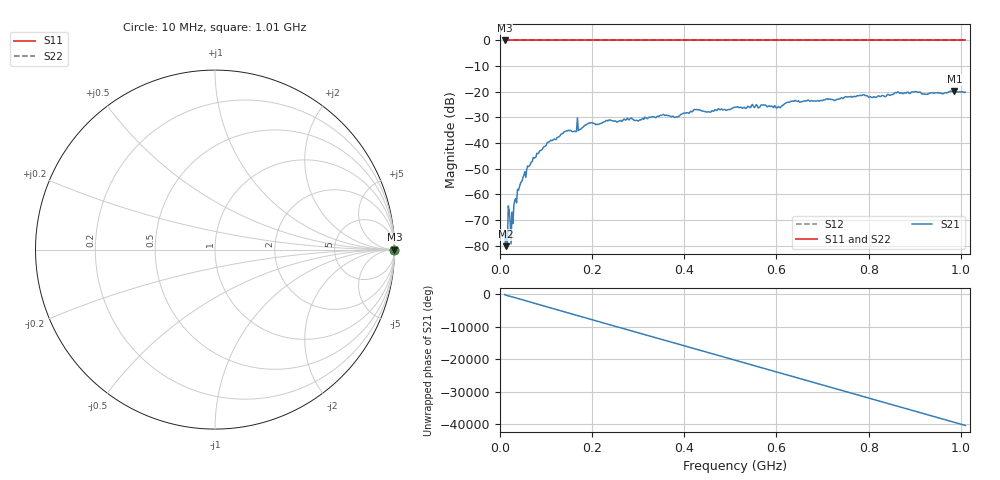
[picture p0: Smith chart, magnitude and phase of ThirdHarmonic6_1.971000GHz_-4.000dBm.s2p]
! 8/16/2025 11:42:31 PM
! C:\ANRITSUVNA\TEMP\TEMP.S2P
! CHANNEL.1
! TR.MEASUREMENT
! RAW.DATA
! RF.CORRECTION.OFF
! AVERAGING.OFF
! IF.BANDWIDTH: 5KHZ
! SWEEPTYPE:  FREQ.SWEEP(Linear)
! Reference Plane Port Info
! PORT:  PORT1  PORT2
! DISTANCE:  0  m  0  m
! TIME:  0  s  0  s
! PHASE.OFFSET:  0  deg.  0  deg.
! LOSS:  0  dB  0  dB
! REF.LOSS:  0  dB  0  dB
! REF.FREQ:  0  Hz  0  Hz
! Power Info
! POWER:  -20  dBm  -20  dBm
! EFF.POWER:  -20  dBm  -20  dBm
! SOURCE.ATTEN:  0  dB  0  dB
! TEST.ATTEN:  0  dB  0  dB
# GHZ S RI R 50.0
! FREQ.GHZ  S11RE  S11IM  S21RE  S21IM  S12RE  S12IM  S22RE  S22IM
!; PortSelection: Port_12
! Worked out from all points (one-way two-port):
!   501 points, 10 MHz to 1.01 GHz, reference 50 ohm
!   highest |S21| = -19.79 dB at 986 MHz (marker M1); lowest = -80.2 dB at 12 MHz (marker M2)
!   lowest |S11| = 0.0 dB at 10 MHz (marker M3)
!   |S11| at or under -10 dB: nowhere
!   |S22| runs from 0.0 to 0.0 dB; largest |S21 - S12| = 1.1
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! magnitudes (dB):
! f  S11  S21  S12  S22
! 10 MHz  0.0  -75.1  0.0  0.0
! 12 MHz  0.0  -80.2  0.0  0.0
! 18 MHz  0.0  -64.6  0.0  0.0
! 20 MHz  0.0  -66.3  0.0  0.0
! 22 MHz  0.0  -70.6  0.0  0.0
! 26 MHz  0.0  -67.0  0.0  0.0
! 30 MHz  0.0  -64.4  0.0  0.0
! 42 MHz  0.0  -57.1  0.0  0.0
! 70 MHz  0.0  -47.2  0.0  0.0
! 106 MHz  0.0  -39.6  0.0  0.0
! 144 MHz  0.0  -35.3  0.0  0.0
! 178 MHz  0.0  -34.1  0.0  0.0
! 196 MHz  0.0  -32.1  0.0  0.0
! 344 MHz  0.0  -29.7  0.0  0.0
! 382 MHz  0.0  -29.8  0.0  0.0
! 510 MHz  0.0  -26.0  0.0  0.0
! 604 MHz  0.0  -25.8  0.0  0.0
! 636 MHz  0.0  -23.7  0.0  0.0
! 678 MHz  0.0  -23.6  0.0  0.0
! 844 MHz  0.0  -21.2  0.0  0.0
! 986 MHz  0.0  -19.8  0.0  0.0
! 1.01 GHz  0.0  -20.1  0.0  0.0
